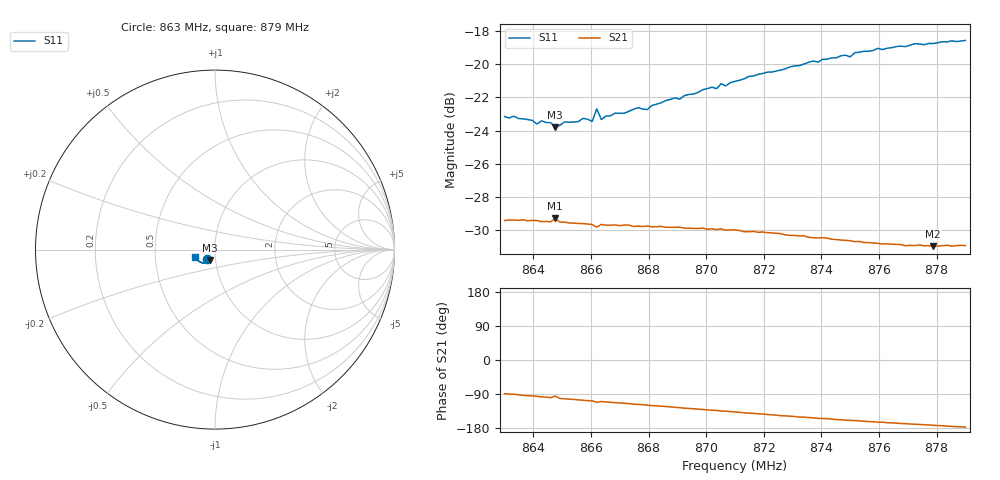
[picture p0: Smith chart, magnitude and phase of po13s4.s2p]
# HZ S RI R 50
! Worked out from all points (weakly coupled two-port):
!   101 points, 863 MHz to 879 MHz, reference 50 ohm
!   highest |S21| = -29.30 dB at 864.76 MHz (marker M1); lowest = -31.0 dB at 877.88 MHz (marker M2)
!   lowest |S11| = -23.8 dB at 864.76 MHz (marker M3), VSWR 1.14, Z = 46.8 - j5.36 ohm
!   |S11| at or under -10 dB: start of sweep to end of sweep
!   S12 and S22 are empty: the file has one direction only
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8.63e8  -0.0438 -0.054  0.000756 -0.0338  0 0  0 0
8.6396e8  -0.0394 -0.0551  -0.00279 -0.0337  0 0  0 0
8.6412e8  -0.0382 -0.0539  -0.00347 -0.0336  0 0  0 0
8.6428e8  -0.0376 -0.056  -0.00429 -0.0332  0 0  0 0
8.646e8  -0.0372 -0.0553  -0.00547 -0.033  0 0  0 0
8.6476e8  -0.0302 -0.0571  -0.00314 -0.0341  0 0  0 0
8.6492e8  -0.0348 -0.0554  -0.00662 -0.0327  0 0  0 0
8.6572e8  -0.0351 -0.059  -0.00926 -0.0317  0 0  0 0
8.6604e8  -0.0339 -0.058  -0.01 -0.0313  0 0  0 0
8.662e8  -0.0405 -0.0612  -0.0119 -0.03  0 0  0 0
8.6636e8  -0.0343 -0.0588  -0.0111 -0.0309  0 0  0 0
8.6652e8  -0.0339 -0.061  -0.0115 -0.0306  0 0  0 0
8.6764e8  -0.0366 -0.0643  -0.0148 -0.0289  0 0  0 0
8.6796e8  -0.0351 -0.064  -0.0159 -0.0284  0 0  0 0
8.6844e8  -0.0376 -0.0667  -0.0171 -0.0276  0 0  0 0
8.71e8  -0.0486 -0.0743  -0.0232 -0.0215  0 0  0 0
8.7372e8  -0.0695 -0.075  -0.0266 -0.0138  0 0  0 0
8.75e8  -0.0797 -0.0688  -0.0275 -0.0104  0 0  0 0
8.7516e8  -0.0827 -0.07  -0.0274 -0.0101  0 0  0 0
8.7644e8  -0.0938 -0.0614  -0.0278 -0.007  0 0  0 0
8.7788e8  -0.1045 -0.0491  -0.028 -0.00381  0 0  0 0
8.79e8  -0.1115 -0.0385  -0.0284 -0.00135  0 0  0 0
